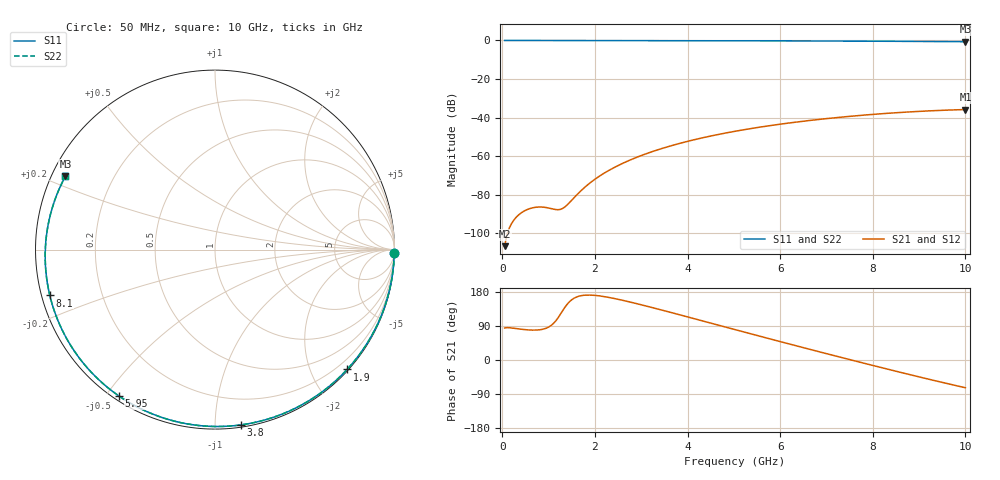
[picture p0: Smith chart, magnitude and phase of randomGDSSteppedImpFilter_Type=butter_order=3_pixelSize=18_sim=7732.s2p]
! freq	dB(S11)	phase(S11)	dB(S12)	phase(S12)
!  dB(S21)	phase(S21)	dB(S22)	phase(S22)
!S-par simulation data
#  GHz  S  DB  R 50
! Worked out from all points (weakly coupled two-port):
!   200 points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, 50 MHz to 10 GHz, reference 50 ohm
!   highest |S21| = -35.81 dB at 10 GHz (marker M1); lowest = -106.6 dB at 50 MHz (marker M2)
!   lowest |S11| = -0.6 dB at 10 GHz (marker M3), VSWR 26.89, Z = 1.96 + j11.6 ohm
!   |S11| at or under -10 dB: nowhere
!   |S22| runs from -0.6 to 0.0 dB; largest |S21 - S12| = 0
!   S11 on the Smith chart (normalised r, x): 50 MHz: open; 1.9 GHz: 0.02, -2.59; 3.8 GHz: 0.01, -1.16; 5.95 GHz: 0.02, -0.54; 8.1 GHz: 0.02, -0.14; 10 GHz: 0.04, +0.23
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0.05  -0.00 -1.1  -106.64 84.3  -106.64 84.3  -0.00 -1.1
0.45  -0.02 -10.1  -88.73 80.7  -88.73 80.7  -0.02 -10.1
0.8  -0.02 -18.0  -86.34 79.6  -86.34 79.6  -0.02 -18.0
1.6  -0.05 -35.7  -80.27 166.1  -80.27 166.1  -0.05 -35.7
1.75  -0.05 -39.0  -76.77 170.7  -76.77 170.7  -0.05 -39.0
1.9  -0.05 -42.2  -73.74 171.3  -73.74 171.3  -0.05 -42.2
2.2  -0.06 -48.7  -68.79 167.3  -68.79 167.3  -0.06 -48.6
2.55  -0.07 -56.1  -64.26 158.9  -64.26 158.9  -0.07 -56.1
2.95  -0.08 -64.4  -60.13 147.3  -60.13 147.3  -0.08 -64.4
3.4  -0.10 -73.6  -56.36 133.2  -56.36 133.2  -0.10 -73.6
3.8  -0.11 -81.7  -53.56 120.3  -53.56 120.3  -0.11 -81.7
4.4  -0.13 -93.5  -50.06 100.7  -50.06 100.7  -0.13 -93.5
5.05  -0.16 -106.1  -46.98 79.4  -46.98 79.4  -0.16 -106.1
5.95  -0.21 -123.2  -43.57 50.2  -43.57 50.2  -0.21 -123.2
6.7  -0.27 -137.3  -41.31 26.2  -41.31 26.2  -0.27 -137.3
7.4  -0.33 -150.7  -39.57 4.2  -39.57 4.2  -0.33 -150.7
8.1  -0.40 -164.5  -38.15 -17.4  -38.15 -17.4  -0.40 -164.5
8.35  -0.43 -169.6  -37.71 -25.1  -37.71 -25.1  -0.43 -169.6
8.8  -0.48 -178.9  -37.03 -38.6  -37.03 -38.6  -0.48 -178.9
9.2  -0.53 172.4  -36.53 -50.5  -36.53 -50.5  -0.53 172.4
9.6  -0.59 163.4  -36.12 -62.0  -36.12 -62.0  -0.59 163.4
10  -0.65 153.9  -35.81 -73.2  -35.81 -73.2  -0.65 153.9
